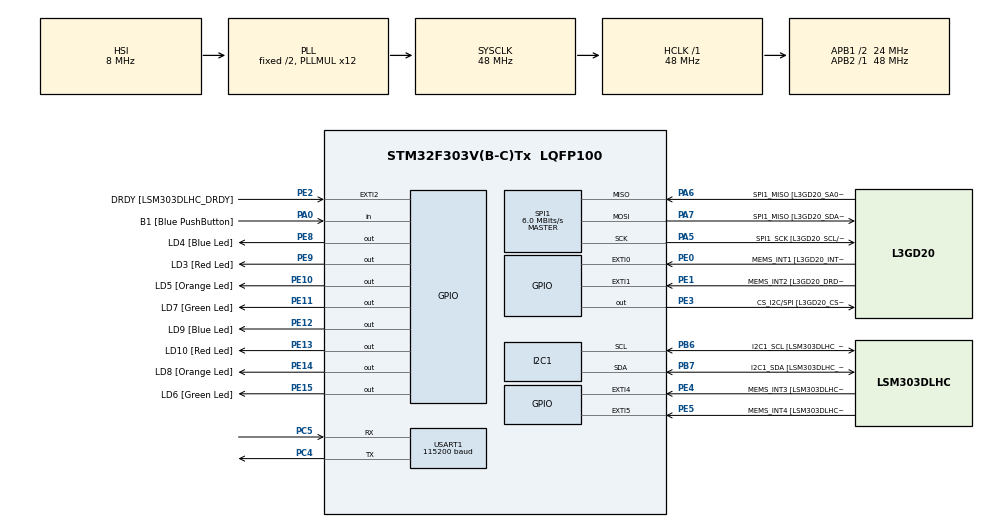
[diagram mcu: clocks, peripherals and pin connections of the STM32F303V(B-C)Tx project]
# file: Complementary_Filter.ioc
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Mcu.Family=STM32F3
Mcu.Name=STM32F303V(B-C)Tx
Mcu.Package=LQFP100
NVIC.PriorityGroup=NVIC_PRIORITYGROUP_0
PA0.GPIO_Label=B1 [Blue PushButton]
PA0.GPIO_Mode=GPIO_MODE_INPUT
PA0.GPIO_PuPd=GPIO_NOPULL
PA0.Signal=GPIO_Input
PA11.GPIO_Label=DM
PA11.Signal=USB_DM
PA12.GPIO_Label=DP
PA12.Signal=USB_DP
PA13.GPIO_Label=SWDIO
PA13.Signal=SYS_JTMS-SWDIO
PA14.GPIO_Label=SWCLK
PA14.Signal=SYS_JTCK-SWCLK
PA5.GPIO_Label=SPI1_SCK [L3GD20_SCL/SPC]
PA5.GPIO_Mode=GPIO_MODE_AF_PP
PA5.GPIO_PuPd=GPIO_NOPULL
PA5.GPIO_Speed=GPIO_SPEED_FREQ_LOW
PA5.Mode=Full_Duplex_Master
PA5.Signal=SPI1_SCK
PA6.GPIO_Label=SPI1_MISO [L3GD20_SA0/SDO]
PA6.GPIO_Mode=GPIO_MODE_AF_PP
PA6.GPIO_PuPd=GPIO_NOPULL
PA6.GPIO_Speed=GPIO_SPEED_FREQ_LOW
PA6.Mode=Full_Duplex_Master
PA6.Signal=SPI1_MISO
PA7.GPIO_Label=SPI1_MISO [L3GD20_SDA/SDI/SDO]
PA7.GPIO_Mode=GPIO_MODE_AF_PP
PA7.GPIO_PuPd=GPIO_NOPULL
PA7.GPIO_Speed=GPIO_SPEED_FREQ_LOW
PA7.Mode=Full_Duplex_Master
PA7.Signal=SPI1_MOSI
PB3.GPIO_Label=SWO
PB3.Signal=SYS_JTDO-TRACESWO
PB6.GPIO_FM6=__NULL
PB6.GPIO_Label=I2C1_SCL [LSM303DLHC_SCL]
PB6.GPIO_Mode=GPIO_MODE_AF_OD
PB6.GPIO_PuPd=GPIO_NOPULL
PB6.GPIO_Speed=GPIO_SPEED_FREQ_LOW
PB6.Mode=I2C
PB6.Signal=I2C1_SCL
PB7.GPIO_FM7=__NULL
PB7.GPIO_Label=I2C1_SDA [LSM303DLHC_SDA]
PB7.GPIO_Mode=GPIO_MODE_AF_OD
PB7.GPIO_PuPd=GPIO_NOPULL
PB7.GPIO_Speed=GPIO_SPEED_FREQ_LOW
PB7.Mode=I2C
PB7.Signal=I2C1_SDA
PC14-OSC32_IN.GPIO_Label=OSC32_IN
PC14-OSC32_IN.Signal=RCC_OSC32_IN
PC15-OSC32_OUT.GPIO_Label=OSC32_OUT
PC15-OSC32_OUT.Signal=RCC_OSC32_OUT
PC4.Mode=Asynchronous
PC4.Signal=USART1_TX
PC5.Mode=Asynchronous
PC5.Signal=USART1_RX
PE0.GPIO_Label=MEMS_INT1 [L3GD20_INT1]
PE0.GPIO_ModeDefaultEXTI=GPIO_MODE_EVT_RISING
PE0.GPIO_PuPd=GPIO_NOPULL
PE0.Signal=GPXTI0
PE1.GPIO_Label=MEMS_INT2 [L3GD20_DRDY/INT2]
PE1.GPIO_ModeDefaultEXTI=GPIO_MODE_EVT_RISING
PE1.GPIO_PuPd=GPIO_NOPULL
PE1.Signal=GPXTI1
PE10.GPIO_Label=LD5 [Orange Led]
PE10.GPIO_ModeDefaultOutputPP=GPIO_MODE_OUTPUT_PP
PE10.GPIO_PuPd=GPIO_NOPULL
PE10.GPIO_Speed=GPIO_SPEED_FREQ_LOW
PE10.Signal=GPIO_Output
PE11.GPIO_Label=LD7 [Green Led]
PE11.GPIO_ModeDefaultOutputPP=GPIO_MODE_OUTPUT_PP
PE11.GPIO_PuPd=GPIO_NOPULL
PE11.GPIO_Speed=GPIO_SPEED_FREQ_LOW
PE11.Signal=GPIO_Output
PE12.GPIO_Label=LD9 [Blue Led]
PE12.GPIO_ModeDefaultOutputPP=GPIO_MODE_OUTPUT_PP
PE12.GPIO_PuPd=GPIO_NOPULL
PE12.GPIO_Speed=GPIO_SPEED_FREQ_LOW
PE12.Signal=GPIO_Output
PE13.GPIO_Label=LD10 [Red Led]
PE13.GPIO_ModeDefaultOutputPP=GPIO_MODE_OUTPUT_PP
PE13.GPIO_PuPd=GPIO_NOPULL
PE13.GPIO_Speed=GPIO_SPEED_FREQ_LOW
PE13.Signal=GPIO_Output
PE14.GPIO_Label=LD8 [Orange Led]
PE14.GPIO_ModeDefaultOutputPP=GPIO_MODE_OUTPUT_PP
PE14.GPIO_PuPd=GPIO_NOPULL
PE14.GPIO_Speed=GPIO_SPEED_FREQ_LOW
PE14.Signal=GPIO_Output
PE15.GPIO_Label=LD6 [Green Led]
PE15.GPIO_ModeDefaultOutputPP=GPIO_MODE_OUTPUT_PP
PE15.GPIO_PuPd=GPIO_NOPULL
PE15.GPIO_Speed=GPIO_SPEED_FREQ_LOW
PE15.Signal=GPIO_Output
PE2.GPIO_Label=DRDY [LSM303DLHC_DRDY]
PE2.GPIO_ModeDefaultEXTI=GPIO_MODE_EVT_RISING
PE2.GPIO_PuPd=GPIO_NOPULL
PE2.Signal=GPXTI2
PE3.GPIO_Label=CS_I2C/SPI [L3GD20_CS_I2C/SPI]
PE3.GPIO_ModeDefaultOutputPP=GPIO_MODE_OUTPUT_PP
PE3.GPIO_PuPd=GPIO_NOPULL
PE3.GPIO_Speed=GPIO_SPEED_FREQ_LOW
PE3.Signal=GPIO_Output
PE4.GPIO_Label=MEMS_INT3 [LSM303DLHC_INT1]
PE4.GPIO_ModeDefaultEXTI=GPIO_MODE_EVT_RISING
PE4.GPIO_PuPd=GPIO_NOPULL
PE4.Signal=GPXTI4
PE5.GPIO_Label=MEMS_INT4 [LSM303DLHC_INT2]
PE5.GPIO_ModeDefaultEXTI=GPIO_MODE_EVT_RISING
PE5.GPIO_PuPd=GPIO_NOPULL
PE5.Signal=GPXTI5
PE8.GPIO_Label=LD4 [Blue Led]
PE8.GPIO_ModeDefaultOutputPP=GPIO_MODE_OUTPUT_PP
PE8.GPIO_PuPd=GPIO_NOPULL
PE8.GPIO_Speed=GPIO_SPEED_FREQ_LOW
PE8.Signal=GPIO_Output
PE9.GPIO_Label=LD3 [Red Led]
PE9.GPIO_ModeDefaultOutputPP=GPIO_MODE_OUTPUT_PP
PE9.GPIO_PuPd=GPIO_NOPULL
PE9.GPIO_Speed=GPIO_SPEED_FREQ_LOW
PE9.Signal=GPIO_Output
PF0-OSC_IN.GPIO_Label=OSC_IN
PF0-OSC_IN.Signal=RCC_OSC_IN
PF1-OSC_OUT.GPIO_Label=OSC_OUT
PF1-OSC_OUT.Signal=RCC_OSC_OUT
ProjectManager.HeapSize=0x200
ProjectManager.StackSize=0x400
ProjectManager.TargetToolchain=STM32CubeIDE
RCC.AHBFreq_Value=48000000
RCC.APB1CLKDivider=RCC_HCLK_DIV2
RCC.APB1Freq_Value=24000000
RCC.APB1TimFreq_Value=48000000
RCC.APB2Freq_Value=48000000
RCC.APB2TimFreq_Value=48000000
RCC.CortexFreq_Value=48000000
RCC.HCLKFreq_Value=48000000
RCC.HSE_VALUE=8000000
RCC.HSI_VALUE=8000000
RCC.LSE_VALUE=32768
RCC.PLLMUL=RCC_PLL_MUL12
RCC.SYSCLKFreq_VALUE=48000000
RCC.SYSCLKSourceVirtual=RCC_SYSCLKSOURCE_PLLCLK
RCC.USBFreq_Value=48000000
SPI1.BaudRatePrescaler=SPI_BAUDRATEPRESCALER_8
SPI1.CalculateBaudRate=6.0 MBits/s
SPI1.Direction=SPI_DIRECTION_2LINES
SPI1.Mode=SPI_MODE_MASTER
SPI1.VirtualType=VM_MASTER
USART1.BaudRate=115200
USART1.VirtualMode-Asynchronous=VM_ASYNC
board=STM32F3DISCOVERY

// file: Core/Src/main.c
/* USER CODE BEGIN Header */
/**
  ******************************************************************************
  * @file           : main.c
  * @brief          : Main program body
  ******************************************************************************
  * @attention
  *
  * <h2><center>&copy; Copyright (c) 2022 STMicroelectronics.
  * All rights reserved.</center></h2>
  *
  * This software component is licensed by ST under BSD 3-Clause license,
  * the "License"; You may not use this file except in compliance with the
  * License. You may obtain a copy of the License at:
  *                        opensource.org/licenses/BSD-3-Clause
  *
  ******************************************************************************
  */
/* USER CODE END Header */
#include "main.h"
#include "i2c.h"
#include "spi.h"
#include "usart.h"
#include "gpio.h"

/* USER CODE BEGIN Includes */
#include "RCFilter.h"
#include "FIRFilter.h"
#include "IIRFilter.h"
#include <math.h>

#include "FirstOrderIIRFilter.h"

/* USER CODE END Includes */

/* USER CODE BEGIN PD */
#define SAMPLE_TIME_FILTER_MS	10
#define SIN_FREQ_HZ				1.59f

#define IIR_ALPHA	1.0f
#define IIR_BETA	0.9f

#define FO_IIR_ALPHA	0.9f
/* USER CODE END PD */

/* USER CODE BEGIN PV */

Accelerometer myAcc = {0};
Gyroscope myGyro = {0};
Complementary_Filter Comp_Filter = {0};

uint32_t sampleTime = 0;

uint8_t DemoIndex = 0;
BSP_DemoTypedef  BSP_examples[]={
  {ACCELERO_MEMS_Test, "LSM303DLHC/LSM303AGR", 0},
  {GYRO_MEMS_Test, "L3GD20/I3G4250D", 1},
};

__IO uint8_t UserPressButton = 0;

float filterInput = 0;
uint32_t timerFILTER_MS = 0;
/* Counter for User button presses*/
__IO uint32_t PressCount = 0;

RCFilter Acc_RC_LPF;
RCFilter Gyro_RC_LPF;

FIRFilter Acc_FIR_LPF;
IIRFilter Acc_IIR_LPF;
FirstOrderIIR Acc_FO_IIR[3];
FirstOrderIIR Gyro_FO_IIR[3];
/* USER CODE END PV */

void SystemClock_Config(void);
/* USER CODE BEGIN PFP */
void IIR_Check();
/* USER CODE END PFP */

int main(void)
{

  /* MCU Configuration--------------------------------------------------------*/

  /* Reset of all peripherals, Initializes the Flash interface and the Systick. */
  HAL_Init();

  /* Configure the system clock */
  SystemClock_Config();

  /* Initialize all configured peripherals */
  MX_GPIO_Init();
  MX_I2C1_Init();
  MX_SPI1_Init();
  MX_USART1_UART_Init();
  /* USER CODE BEGIN 2 */

  IIRFilter_Init(&Acc_IIR_LPF, IIR_ALPHA, IIR_BETA);

  Comp_Filter.alpha = 0.05f;

  for(uint8_t i = 0; i < 3; i++)
  {
	  FirstOrderIIR_Init(&Acc_FO_IIR[i], FO_IIR_ALPHA);
	  FirstOrderIIR_Init(&Gyro_FO_IIR[i], FO_IIR_ALPHA);
  }

  /* Init Accelerometer Mems */
  if(BSP_ACCELERO_Init() != HAL_OK)
  {
	/* Initialization Error */
	Error_Handler();
  }

  /* Init Gyroscope Mems */
  if(BSP_GYRO_Init() != HAL_OK)
  {
	/* Initialization Error */
	Error_Handler();
  }

  /* USER CODE END 2 */

  /* Infinite loop */
  /* USER CODE BEGIN WHILE */
  while (1)
  {

	  /* Read Acceleration*/
	  BSP_ACCELERO_GetXYZ(myAcc.buffer);

	  /* Init Gyroscope Mems */
	  if(BSP_GYRO_Init() != HAL_OK)
	  {
		/* Initialization Error */
		Error_Handler();
	  }

	  /* Read Gyro Angular data */
	  BSP_GYRO_GetXYZ(myGyro.buffer);

	  /* Apply LPF */
	  for(uint8_t i=0; i<3; i++)
	   {
	 	  FirstOrderIIR_Update(&Acc_FO_IIR[i], myAcc.buffer[i]);
	 	  myAcc.Filt[i] = 0.061035f*Acc_FO_IIR[i].out*G/1000.0f;

	 	  FirstOrderIIR_Update(&Gyro_FO_IIR[i], myGyro.buffer[i]);
	 	  myGyro.Filt[i] = DEG_TO_RAD * L3GD20_SENSITIVITY_250DPS*Gyro_FO_IIR[i].out/1000;
	   }

	  if((HAL_GetTick() - sampleTime) >= SAMPLE_TIME)
	  {

		  /* Pitch Ang = asin(Ax / g) */
		  myAcc.pitch_Theta = asinf(myAcc.Filt[x] / G) ; //* RAD_TO_DEG;

		  /* Roll Ang = atan(Ay / Az) */
		  myAcc.roll_Phi = atanf(myAcc.Filt[y] / myAcc.Filt[z]);  //* RAD_TO_DEG;

		  //printf(" %.3f, %.3f, %.3f", acc[0], acc[1], acc[2]);
		  //printf(" %.3f, %.3f\r\n", myAcc.pitch_Theta, myAcc.roll_Phi);

		  /* Body rates to Euler Rates */
		  myGyro.roll_Phi_dot = myGyro.Filt[x] + tanf(Comp_Filter.pitch_Theta) *
				  	  	  	  	  (sinf(Comp_Filter.roll_Phi) * myGyro.Filt[y] +
				  	  	  	  			  cosf(Comp_Filter.roll_Phi) * myGyro.Filt[z]);

		  myGyro.pitch_Theta_dot =	cosf(Comp_Filter.roll_Phi) * myGyro.Filt[y] - sinf(Comp_Filter.roll_Phi) * myGyro.Filt[z];

		  //myGyro.pitch_Theta += (SAMPLE_TIME / 1000.0f) * myGyro.pitch_Theta_dot;
		  //myGyro.roll_Phi += (SAMPLE_TIME / 1000.0f) * myGyro.roll_Phi_dot;

		  //printf(" %.3f, %.3f\r\n", myGyro.pitch_Theta, myGyro.roll_Phi);

		  Comp_Filter.pitch_Theta = Comp_Filter.alpha * myAcc.pitch_Theta
				  	  	  	  	  	+ (1.0f - Comp_Filter.alpha) *
									(Comp_Filter.pitch_Theta + (SAMPLE_TIME / 1000.0f) * myGyro.pitch_Theta_dot); // * RAD_TO_DEG);

		  Comp_Filter.roll_Phi = Comp_Filter.alpha * myAcc.roll_Phi
		  				  	  	  	+ (1.0f - Comp_Filter.alpha) *
		  							(Comp_Filter.roll_Phi + (SAMPLE_TIME / 1000.0f) * myGyro.roll_Phi_dot); // * RAD_TO_DEG);

		  printf(" %.3f, %.3f\r\n", Comp_Filter.pitch_Theta * RAD_TO_DEG, Comp_Filter.roll_Phi * RAD_TO_DEG);

		  sampleTime = HAL_GetTick();

	  }
    /* USER CODE END WHILE */

  }
}

void SystemClock_Config(void)
{
  RCC_OscInitTypeDef RCC_OscInitStruct = {0};
  RCC_ClkInitTypeDef RCC_ClkInitStruct = {0};
  RCC_PeriphCLKInitTypeDef PeriphClkInit = {0};

  /** Initializes the RCC Oscillators according to the specified parameters
  * in the RCC_OscInitTypeDef structure.
  */
  RCC_OscInitStruct.OscillatorType = RCC_OSCILLATORTYPE_HSI;
  RCC_OscInitStruct.HSIState = RCC_HSI_ON;
  RCC_OscInitStruct.HSICalibrationValue = RCC_HSICALIBRATION_DEFAULT;
  RCC_OscInitStruct.PLL.PLLState = RCC_PLL_ON;
  RCC_OscInitStruct.PLL.PLLSource = RCC_PLLSOURCE_HSI;
  RCC_OscInitStruct.PLL.PLLMUL = RCC_PLL_MUL12;
  if (HAL_RCC_OscConfig(&RCC_OscInitStruct) != HAL_OK)
  {
    Error_Handler();
  }
  /** Initializes the CPU, AHB and APB buses clocks
  */
  RCC_ClkInitStruct.ClockType = RCC_CLOCKTYPE_HCLK|RCC_CLOCKTYPE_SYSCLK
                              |RCC_CLOCKTYPE_PCLK1|RCC_CLOCKTYPE_PCLK2;
  RCC_ClkInitStruct.SYSCLKSource = RCC_SYSCLKSOURCE_PLLCLK;
  RCC_ClkInitStruct.AHBCLKDivider = RCC_SYSCLK_DIV1;
  RCC_ClkInitStruct.APB1CLKDivider = RCC_HCLK_DIV2;
  RCC_ClkInitStruct.APB2CLKDivider = RCC_HCLK_DIV1;

  if (HAL_RCC_ClockConfig(&RCC_ClkInitStruct, FLASH_LATENCY_1) != HAL_OK)
  {
    Error_Handler();
  }
  PeriphClkInit.PeriphClockSelection = RCC_PERIPHCLK_USART1|RCC_PERIPHCLK_I2C1;
  PeriphClkInit.Usart1ClockSelection = RCC_USART1CLKSOURCE_PCLK2;
  PeriphClkInit.I2c1ClockSelection = RCC_I2C1CLKSOURCE_HSI;
  if (HAL_RCCEx_PeriphCLKConfig(&PeriphClkInit) != HAL_OK)
  {
    Error_Handler();
  }
}

/* USER CODE BEGIN 4 */

/**
  * @brief  EXTI line detection callbacks.
  * @param  GPIO_Pin: Specifies the pins connected EXTI line
  * @retval None
  */
void HAL_GPIO_EXTI_Callback(uint16_t GPIO_Pin)
{
  if (USER_BUTTON_PIN == GPIO_Pin)
  {
    while (BSP_PB_GetState(BUTTON_USER) != RESET);
    UserPressButton = 1;
  }
}

/**
  * @brief Toggle Leds
  * @param  None
  * @retval None
  */
void Toggle_Leds(void)
{
    BSP_LED_Toggle(LED3);
    HAL_Delay(100);
    BSP_LED_Toggle(LED4);
    HAL_Delay(100);
    BSP_LED_Toggle(LED6);
    HAL_Delay(100);
    BSP_LED_Toggle(LED8);
    HAL_Delay(100);
    BSP_LED_Toggle(LED10);
    HAL_Delay(100);
    BSP_LED_Toggle(LED9);
    HAL_Delay(100);
    BSP_LED_Toggle(LED7);
    HAL_Delay(100);
    BSP_LED_Toggle(LED5);
    HAL_Delay(100);
}

/* IIR Filter Check */
void IIR_Check()
{
	if((HAL_GetTick() - timerFILTER_MS) >= SAMPLE_TIME_FILTER_MS)
	{
		filterInput = 10.0f * sinf(0.0062831853f * SIN_FREQ_HZ * timerFILTER_MS);

		IIRFilter_Update(&Acc_IIR_LPF, filterInput);

		printf(" %.3f, %.3f\r\n",
				filterInput, Acc_IIR_LPF.out);

		timerFILTER_MS += SAMPLE_TIME_FILTER_MS;

	}
}

int __io_putchar(int ch)
{
	HAL_UART_Transmit(&huart1 , (uint8_t *)&ch , 1 , 0xFFFF);
	return ch;
}

/* USER CODE END 4 */

void Error_Handler(void)
{
  /* USER CODE BEGIN Error_Handler_Debug */
  /* User can add his own implementation to report the HAL error return state */
    /* Turn LED10/3 (RED) on */
    BSP_LED_On(LED10);
    BSP_LED_On(LED3);
  __disable_irq();
  while (1)
  {
  }
  /* USER CODE END Error_Handler_Debug */
}

/************************ (C) COPYRIGHT STMicroelectronics *****END OF FILE****/
